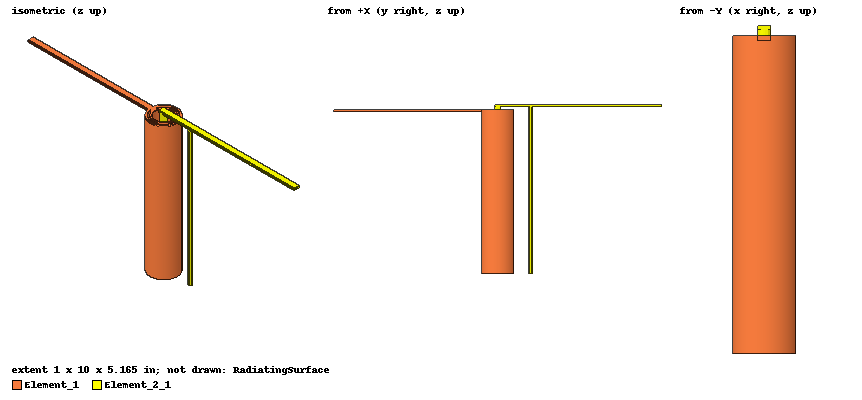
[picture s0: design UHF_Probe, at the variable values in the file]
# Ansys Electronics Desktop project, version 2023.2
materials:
  vacuum: permittivity=1
  copper: permeability=0.999991 conductivity=58000000

design UHF_Probe (HFSS, HFSS Terminal Network, model units in)
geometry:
  Boom = cylinder(axis=Z, base_centre=(0in, 0in, 0in), radius=0.5in, height=5in)
  Cylinder2 = cylinder(axis=Z, base_centre=(0in, 0in, 0in), radius=0.43in, height=5in)
  Boom.subtract(Cylinder2)
  Boom1 = cylinder(axis=Z, base_centre=(0in, 0in, 0in), radius=0.37in, height=5in)
  Cylinder3 = cylinder(axis=Z, base_centre=(0in, 0in, 0in), radius=0.31in, height=5in)
  Boom1.subtract(Cylinder3)
  Element_1 [copper] = box(corner=(-0.1in, -0.31in, 5in), size=(0.2in, -4.69in, -0.065in))
  Element_1.unite(Boom1, Boom)
  Element_2_1 [copper] = cylinder(axis=Z, base_centre=(0in, 0in, 0in), radius=0.1in, height=5.1in)
  Element_2 = box(corner=(-0.1in, -0.1in, 5.1in), size=(0.2in, 5.1in, 0.065in))
  Ground_Pin = cylinder(axis=Z, base_centre=(0in, 1in, 0in), radius=0.0625in, height=5.1in)
  Element_2_1.unite(Element_2, Ground_Pin)
  P1 [copper] = circle(normal=Z, centre=(0in, 0in, 0in), radius=0.31in)
  RadiatingSurface [vacuum] = region(absolute_offset: +X=7.1581961in, -X=7.1581961in, +Y=7.1581961in, -Y=7.1581961in, +Z=7.1581961in, -Z=0in)
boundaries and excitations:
  Open1: Radiation Faces=RadiatingSurface.face(+z, -y, -x, +y, +x)
  Open_InfiniteGnd1: Perfect E Faces=RadiatingSurface.face(-z) InfGroundPlane
  Center_Pin_T1: Terminal port=1 Faces=Element_2_1.face(-z end) TerminalResistance=50ohm
  1: Wave Port Faces=P1.face WavePortType=Terminal NumModes=1
  reference conductors: Element_1
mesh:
  Length1: LengthBased Objects=RadiatingSurface MaxLength=3.5in
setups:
  Setup1: HfssDriven Frequency=0.55GHz MaxDeltaS=0.02 MaximumPasses=10 MinimumPasses=1 MinimumConvergedPasses=1 PercentRefinement=30 BasisOrder=1 PortAccuracy=2 DrivenSolverType="Direct Solver"
    sweep Sweep: 0.35GHz to 0.75GHz, 401 points; Type=Interpolating SaveFields InterpTolerance=0.5 InterpMaxSolns=250 PassivityErrorTolerance=0.0001
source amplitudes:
  1:1: 1V 0deg
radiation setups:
  3D: Infinite Sphere Theta=0deg..180deg step 2deg Phi=-180deg..180deg step 2deg
  Elevation: Infinite Sphere Theta=-180deg..180deg step 1deg Phi=0deg..90deg step 90deg
  Azimuth: Infinite Sphere Theta=90deg..90deg step 0deg Phi=-180deg..180deg step 1deg
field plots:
  Mag_Jsurf1: Jsurf over Element_2_1.face(all 12) Element_1.face(all 14) on Setup1 : LastAdaptive at Freq=0.55GHz Phase=0deg
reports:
  Terminal S Parameter Plot 1: dB(St(Center_Pin_T1,Center_Pin_T1)) vs Freq on Setup1 : Sweep; markers m1 at 500MHz
  Gain Plot 2: dB(GainTotal), RealizedGainTotal vs Phi, Theta on Setup1 : LastAdaptive, 3D [Freq=0.55GHz]
  Realized Gain Plot 1: mag(PolarizationRatioCircularRHCP) vs Phi, Theta on Setup1 : LastAdaptive, 3D [Freq=0.55GHz]
  Gain Plot 3: GainTotal vs Phi, Theta on Setup1 : LastAdaptive, 3D [Freq=0.55GHz]
  Gain Plot 4: dB(GainTotal) vs Phi, Theta on Setup1 : LastAdaptive, 3D [Freq=0.55GHz]
